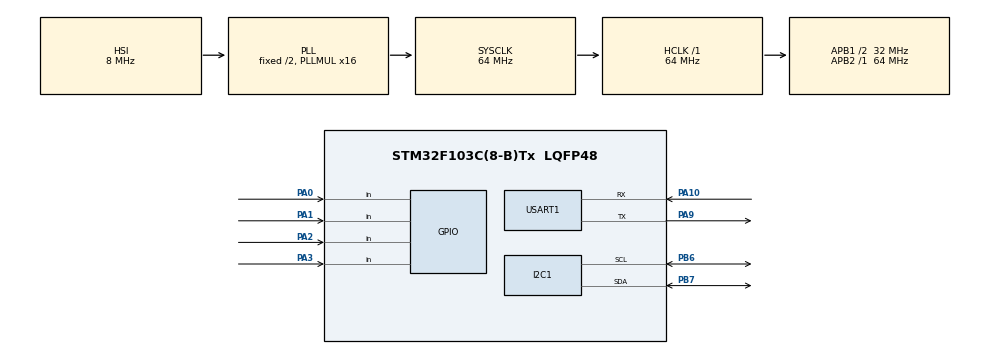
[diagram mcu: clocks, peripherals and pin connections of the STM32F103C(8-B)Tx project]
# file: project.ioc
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Dma.Request0=USART1_RX
Dma.USART1_RX.0.Direction=DMA_PERIPH_TO_MEMORY
Dma.USART1_RX.0.Instance=DMA1_Channel5
Dma.USART1_RX.0.MemDataAlignment=DMA_MDATAALIGN_BYTE
Dma.USART1_RX.0.MemInc=DMA_MINC_ENABLE
Dma.USART1_RX.0.Mode=DMA_NORMAL
Dma.USART1_RX.0.PeriphDataAlignment=DMA_PDATAALIGN_BYTE
Dma.USART1_RX.0.PeriphInc=DMA_PINC_DISABLE
Dma.USART1_RX.0.Priority=DMA_PRIORITY_LOW
FREERTOS.Tasks01=defaultTask,0,128,StartDefaultTask,Default,NULL,Dynamic,NULL,NULL;ScreenTask,0,128,StartTask02,Default,NULL,Dynamic,NULL,NULL;SensorTask,0,128,StartTask03,Default,NULL,Dynamic,NULL,NULL;BleTask,0,128,StartTask04,Default,NULL,Dynamic,NULL,NULL;IdleTask,-2,128,StartTask05,Default,NULL,Dynamic,NULL,NULL
FREERTOS.configTOTAL_HEAP_SIZE=8192
I2C1.I2C_Mode=I2C_Fast
Mcu.Family=STM32F1
Mcu.Name=STM32F103C(8-B)Tx
Mcu.Package=LQFP48
NVIC.DMA1_Channel5_IRQn=true\:5\:0\:false\:false\:true\:true\:false\:true\:true
NVIC.PriorityGroup=NVIC_PRIORITYGROUP_4
NVIC.TIM4_IRQn=true\:15\:0\:false\:false\:true\:false\:false\:true\:true
NVIC.TimeBase=TIM4_IRQn
NVIC.TimeBaseIP=TIM4
NVIC.USART1_IRQn=true\:5\:0\:false\:false\:true\:true\:false\:true\:true
PA0-WKUP.Signal=GPIO_Input
PA1.Signal=GPIO_Input
PA10.Mode=Asynchronous
PA10.Signal=USART1_RX
PA13.Mode=Serial_Wire
PA13.Signal=SYS_JTMS-SWDIO
PA14.Mode=Serial_Wire
PA14.Signal=SYS_JTCK-SWCLK
PA2.Signal=GPIO_Input
PA3.Signal=GPIO_Input
PA9.Mode=Asynchronous
PA9.Signal=USART1_TX
PB6.Mode=I2C
PB6.Signal=I2C1_SCL
PB7.Mode=I2C
PB7.Signal=I2C1_SDA
ProjectManager.HeapSize=0x200
ProjectManager.StackSize=0x400
ProjectManager.TargetToolchain=CMake
RCC.AHBFreq_Value=64000000
RCC.APB1CLKDivider=RCC_HCLK_DIV2
RCC.APB1Freq_Value=32000000
RCC.APB1TimFreq_Value=64000000
RCC.APB2Freq_Value=64000000
RCC.APB2TimFreq_Value=64000000
RCC.HCLKFreq_Value=64000000
RCC.PLLMUL=RCC_PLL_MUL16
RCC.SYSCLKFreq_VALUE=64000000
RCC.SYSCLKSource=RCC_SYSCLKSOURCE_PLLCLK
RCC.USBFreq_Value=64000000
USART1.VirtualMode=VM_ASYNC
VP_FREERTOS_VS_CMSIS_V1.Mode=CMSIS_V1
VP_SYS_VS_tim4.Mode=TIM4
board=custom

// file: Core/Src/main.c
/* USER CODE BEGIN Header */
/**
  ******************************************************************************
  * @file           : main.c
  * @brief          : Main program body
  ******************************************************************************
  * @attention
  *
  * Copyright (c) 2026 STMicroelectronics.
  * All rights reserved.
  *
  * This software is licensed under terms that can be found in the LICENSE file
  * in the root directory of this software component.
  * If no LICENSE file comes with this software, it is provided AS-IS.
  *
  ******************************************************************************
  */
  /* USER CODE END Header */
  /* Includes ------------------------------------------------------------------*/
#include "main.h"
#include "cmsis_os.h"
#include "ssh1106.h"
#include "mpu6050.h"
#include "bluetooth.h"
#include "ui.h"
#include <stdio.h>
#include <string.h>

I2C_HandleTypeDef hi2c1;

UART_HandleTypeDef huart1;
DMA_HandleTypeDef hdma_usart1_rx;

osThreadId defaultTaskHandle;
osThreadId ScreenTaskHandle;
osThreadId SensorTaskHandle;
osThreadId BleTaskHandle;
osThreadId IdleTaskHandle;

void SystemClock_Config(void);
static void MX_GPIO_Init(void);
static void MX_DMA_Init(void);
static void MX_I2C1_Init(void);
static void MX_USART1_UART_Init(void);
void StartDefaultTask(void const* argument);
void StartScreenTask(void const* argument);
void StartSensorTask(void const* argument);
void StartBleTask(void const* argument);
void StartIdleTask(void const* argument);

int main(void) {

    /* MCU Configuration--------------------------------------------------------*/

    /* Reset of all peripherals, Initializes the Flash interface and the Systick. */
    HAL_Init();

    /* Configure the system clock */
    SystemClock_Config();

    /* Initialize all configured peripherals */
    MX_GPIO_Init();
    MX_DMA_Init();
    MX_I2C1_Init();
    MX_USART1_UART_Init();
    /* USER CODE BEGIN 2 */
    SSH1106_Init(&hi2c1);
    MPU6050_Init(&hi2c1);

    Bluetooth_Init(&huart1);
    Bluetooth_SendString("BOOT\r\n");  // 上电广播
    UI_Init();
    /* USER CODE END 2 */

    /* Create the thread(s) */
    /* definition and creation of defaultTask */
    osThreadDef(defaultTask, StartDefaultTask, osPriorityNormal, 0, 128);
    defaultTaskHandle = osThreadCreate(osThread(defaultTask), NULL);

    /* definition and creation of ScreenTask */
    osThreadDef(ScreenTask, StartScreenTask, osPriorityNormal, 0, 512);
    ScreenTaskHandle = osThreadCreate(osThread(ScreenTask), NULL);

    /* definition and creation of SensorTask */
    osThreadDef(SensorTask, StartSensorTask, osPriorityNormal, 0, 256);
    SensorTaskHandle = osThreadCreate(osThread(SensorTask), NULL);

    /* definition and creation of BleTask */
    osThreadDef(BleTask, StartBleTask, osPriorityNormal, 0, 512);
    BleTaskHandle = osThreadCreate(osThread(BleTask), NULL);

    /* definition and creation of IdleTask */
    osThreadDef(IdleTask, StartIdleTask, osPriorityLow, 0, 128);
    IdleTaskHandle = osThreadCreate(osThread(IdleTask), NULL);

    /* Start scheduler */
    osKernelStart();

    /* We should never get here as control is now taken by the scheduler */

    /* Infinite loop */
    while (1) {

    }
}

void SystemClock_Config(void) {
    RCC_OscInitTypeDef RCC_OscInitStruct = { 0 };
    RCC_ClkInitTypeDef RCC_ClkInitStruct = { 0 };

    /** Initializes the RCC Oscillators according to the specified parameters
    * in the RCC_OscInitTypeDef structure.
    */
    RCC_OscInitStruct.OscillatorType = RCC_OSCILLATORTYPE_HSI;
    RCC_OscInitStruct.HSIState = RCC_HSI_ON;
    RCC_OscInitStruct.HSICalibrationValue = RCC_HSICALIBRATION_DEFAULT;
    RCC_OscInitStruct.PLL.PLLState = RCC_PLL_ON;
    RCC_OscInitStruct.PLL.PLLSource = RCC_PLLSOURCE_HSI_DIV2;
    RCC_OscInitStruct.PLL.PLLMUL = RCC_PLL_MUL16;
    if (HAL_RCC_OscConfig(&RCC_OscInitStruct) != HAL_OK) {
        Error_Handler();
    }

    /** Initializes the CPU, AHB and APB buses clocks
    */
    RCC_ClkInitStruct.ClockType = RCC_CLOCKTYPE_HCLK | RCC_CLOCKTYPE_SYSCLK
        | RCC_CLOCKTYPE_PCLK1 | RCC_CLOCKTYPE_PCLK2;
    RCC_ClkInitStruct.SYSCLKSource = RCC_SYSCLKSOURCE_PLLCLK;
    RCC_ClkInitStruct.AHBCLKDivider = RCC_SYSCLK_DIV1;
    RCC_ClkInitStruct.APB1CLKDivider = RCC_HCLK_DIV2;
    RCC_ClkInitStruct.APB2CLKDivider = RCC_HCLK_DIV1;

    if (HAL_RCC_ClockConfig(&RCC_ClkInitStruct, FLASH_LATENCY_2) != HAL_OK) {
        Error_Handler();
    }
}

static void MX_I2C1_Init(void) {

    hi2c1.Instance = I2C1;
    hi2c1.Init.ClockSpeed = 400000;
    hi2c1.Init.DutyCycle = I2C_DUTYCYCLE_2;
    hi2c1.Init.OwnAddress1 = 0;
    hi2c1.Init.AddressingMode = I2C_ADDRESSINGMODE_7BIT;
    hi2c1.Init.DualAddressMode = I2C_DUALADDRESS_DISABLE;
    hi2c1.Init.OwnAddress2 = 0;
    hi2c1.Init.GeneralCallMode = I2C_GENERALCALL_DISABLE;
    hi2c1.Init.NoStretchMode = I2C_NOSTRETCH_DISABLE;
    if (HAL_I2C_Init(&hi2c1) != HAL_OK) {
        Error_Handler();
    }

}

static void MX_USART1_UART_Init(void) {

    huart1.Instance = USART1;
    huart1.Init.BaudRate = 115200;
    huart1.Init.WordLength = UART_WORDLENGTH_8B;
    huart1.Init.StopBits = UART_STOPBITS_1;
    huart1.Init.Parity = UART_PARITY_NONE;
    huart1.Init.Mode = UART_MODE_TX_RX;
    huart1.Init.HwFlowCtl = UART_HWCONTROL_NONE;
    huart1.Init.OverSampling = UART_OVERSAMPLING_16;
    if (HAL_UART_Init(&huart1) != HAL_OK) {
        Error_Handler();
    }

}

static void MX_DMA_Init(void) {

    /* DMA controller clock enable */
    __HAL_RCC_DMA1_CLK_ENABLE();

    /* DMA interrupt init */
    /* DMA1_Channel5_IRQn interrupt configuration */
    HAL_NVIC_SetPriority(DMA1_Channel5_IRQn, 5, 0);
    HAL_NVIC_EnableIRQ(DMA1_Channel5_IRQn);

}

static void MX_GPIO_Init(void) {
    GPIO_InitTypeDef GPIO_InitStruct = { 0 };

    /* GPIO Ports Clock Enable */
    __HAL_RCC_GPIOA_CLK_ENABLE();
    __HAL_RCC_GPIOB_CLK_ENABLE();

    /*Configure GPIO pins : PA0 PA1 PA2 PA3 */
    GPIO_InitStruct.Pin = GPIO_PIN_0 | GPIO_PIN_1 | GPIO_PIN_2 | GPIO_PIN_3;
    GPIO_InitStruct.Mode = GPIO_MODE_INPUT;
    GPIO_InitStruct.Pull = GPIO_PULLUP;
    HAL_GPIO_Init(GPIOA, &GPIO_InitStruct);

}

void StartDefaultTask(void const* argument) {
    for (;;) {
        osDelay(1);
    }
}

void StartScreenTask(void const* argument) {
    /* USER CODE BEGIN StartScreenTask */
    PageID_t currentPage = PAGE_HOME;
    uint32_t last_sec_tick = 0;
    /* Infinite loop */
    for (;;) {
        UI_DrawPage(currentPage);
        currentPage = UI_GetPage();
        // 每1秒更新时间
        uint32_t now = HAL_GetTick();
        if (now - last_sec_tick >= 1000) {
            last_sec_tick = now;
            WatchTime_Tick();
        }
        // 秒表由 UI_GetStopwatch 基于 HAL_GetTick 实时计算，
        // 不需要手动 tick，显示时自动获取当前时间
        osDelay(100);  // 10 Hz refresh rate
    }
    /* USER CODE END StartScreenTask */
}

void StartSensorTask(void const* argument) {
    /* USER CODE BEGIN StartSensorTask */
    int16_t ax, ay, az;
    float temp;
    /* Infinite loop */
    for (;;) {
        MPU6050_ReadAccel(&ax, &ay, &az);
        temp = MPU6050_ReadTemp();
        StepCounter_Update(ax, ay, az);
        uint32_t steps = StepCounter_GetCount();
        UI_UpdateData(steps, temp, ax, ay, az);
        osDelay(50);  // 20 Hz sensor sampling
    }
    /* USER CODE END StartSensorTask */
}

void StartBleTask(void const* argument) {
    /* USER CODE BEGIN StartBleTask */
    uint8_t rx_buf[BT_BUFFER_SIZE];
    uint8_t rx_len = 0;
    uint32_t last_tx_tick = 0;
    /* Infinite loop */
    for (;;) {
        if (Bluetooth_DataAvailable()) {
            Bluetooth_GetData(rx_buf, &rx_len);
            Bluetooth_ProcessCommand(rx_buf, rx_len);
        }
        // 每 2 秒自动回传步数和温度
        uint32_t now = HAL_GetTick();
        if (now - last_tx_tick >= 2000) {
            last_tx_tick = now;
            char buf[64];
            uint32_t steps = StepCounter_GetCount();
            int temp_int = (int)(g_mpu_temp + 0.5f);
            sprintf(buf, "STEPS:%lu TEMP:%d\r\n", steps, temp_int);
            Bluetooth_SendString(buf);
        }
        osDelay(100);
    }
    /* USER CODE END StartBleTask */
}

void StartIdleTask(void const* argument) {
    /* USER CODE BEGIN StartIdleTask */

    // 按键状态机
#define BTN_IDLE      0
#define BTN_PRESSED   1
#define BTN_HELD      2
#define BTN_RELEASED  3

    uint8_t btn_state = BTN_IDLE;
    uint32_t btn_press_time = 0;
    const uint32_t SHORT_PRESS_MS = 500;   // 短按阈值
    const uint32_t LONG_PRESS_MS = 1000;  // 长按阈值

    /* Infinite loop */
    for (;;) {
        // 读取 PA1（上拉输入，按下=低电平）
        GPIO_PinState btn_now = HAL_GPIO_ReadPin(GPIOA, GPIO_PIN_1);

        switch (btn_state) {
            case BTN_IDLE:
                if (btn_now == GPIO_PIN_RESET) {  // 按下
                    btn_state = BTN_PRESSED;
                    btn_press_time = HAL_GetTick();
                }
                break;

            case BTN_PRESSED:
                if (btn_now == GPIO_PIN_RESET) {  // 仍然按住
                    uint32_t held = HAL_GetTick() - btn_press_time;
                    if (held >= LONG_PRESS_MS) {
                        // 长按：返回主页（同时清零秒表）
                        UI_GoHome();
                        btn_state = BTN_HELD;  // 进入长按状态，等待释放
                    }
                } else {  // 释放了
                    uint32_t held = HAL_GetTick() - btn_press_time;
                    if (held < SHORT_PRESS_MS) {
                        // 短按：Stopwatch 页控制秒表，其他页切下一页
                        PageID_t current = UI_GetPage();
                        if (current == PAGE_STOPWATCH) {
                            UI_StopwatchToggle();  // 开始/暂停，不离开 Stopwatch 页
                        } else {
                            UI_NextPage();  // 其他页：正常切换
                        }
                    }
                    btn_state = BTN_IDLE;
                }
                break;

            case BTN_HELD:
                if (btn_now == GPIO_PIN_SET) {  // 长按后释放
                    btn_state = BTN_IDLE;
                }
                break;

            default:
                btn_state = BTN_IDLE;
                break;
        }

        osDelay(20);  // 50 Hz 按键扫描
    }
    /* USER CODE END StartIdleTask */
}

void HAL_TIM_PeriodElapsedCallback(TIM_HandleTypeDef* htim) {
    if (htim->Instance == TIM4) {
        HAL_IncTick();
    }
}

void Error_Handler(void) {
    __disable_irq();
    while (1) {
    }
}
